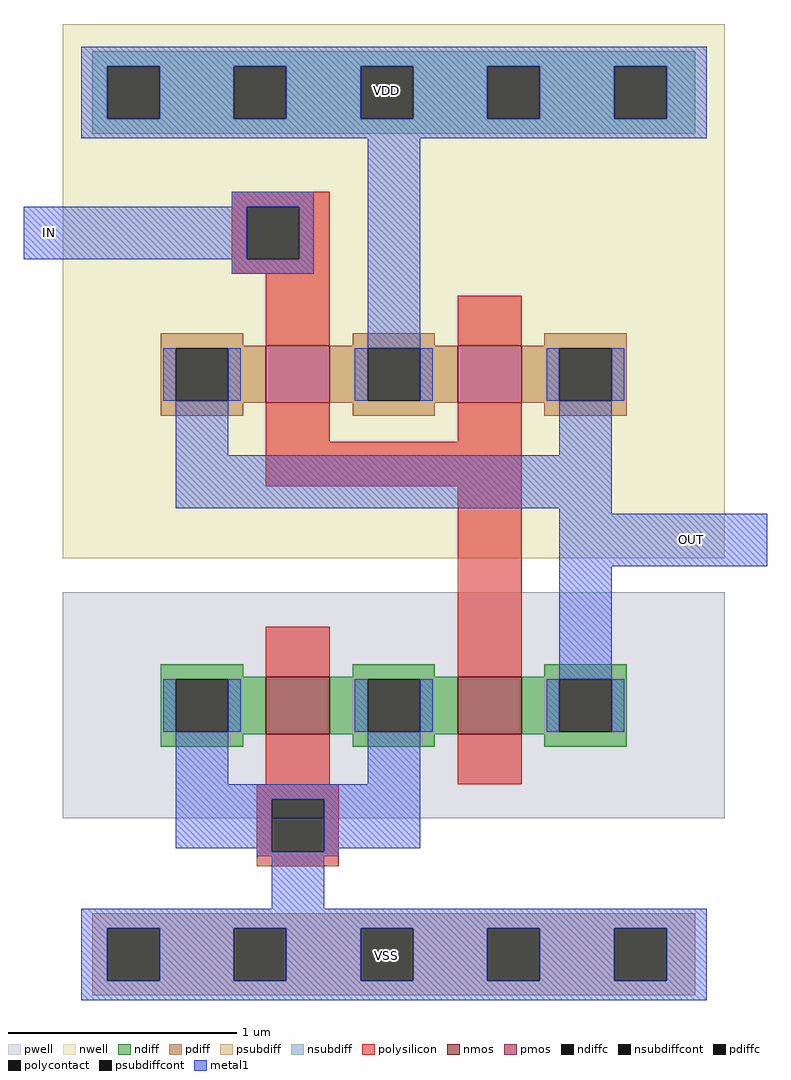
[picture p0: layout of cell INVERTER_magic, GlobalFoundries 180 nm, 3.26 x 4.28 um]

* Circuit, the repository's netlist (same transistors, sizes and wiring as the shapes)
* NGSPICE file created from INVERTER_magic.ext - technology: gf180mcuC

.subckt pmos_3p3_MGRCNG a_n204_n36# a_56_n69# a_112_n25# a_n112_n69# w_n290_n161#
+ a_n56_n25#
X0 a_n56_n25# a_n112_n69# a_n204_n36# w_n290_n161# pfet_03v3 ad=89.8f pd=0.92u as=0.155p ps=1.64u w=0.25u l=0.28u
X1 a_112_n25# a_56_n69# a_n56_n25# w_n290_n161# pfet_03v3 ad=0.155p pd=1.64u as=89.8f ps=0.92u w=0.25u l=0.28u
.ends

.subckt nmos_3p3_H9QVWA a_n120_n36# a_28_n25# a_n28_n69# VSUBS
X0 a_28_n25# a_n28_n69# a_n120_n36# VSUBS nfet_03v3 ad=0.155p pd=1.64u as=0.155p ps=1.64u w=0.25u l=0.28u
.ends

.subckt INVERTER_magic IN OUT VDD VSS
Xpmos_3p3_MGRCNG_0 OUT IN OUT IN VDD VDD pmos_3p3_MGRCNG
Xnmos_3p3_H9QVWA_0 VSS OUT IN VSS nmos_3p3_H9QVWA
Xnmos_3p3_H9QVWA_1 VSS VSS VSS VSS nmos_3p3_H9QVWA
.ends

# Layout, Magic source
magic
tech gf180mcuC
magscale 1 10
<< nwell >>
rect 0 322 580 468
<< pwell >>
rect 0 -228 62 -30
rect 518 -228 580 -30
<< psubdiff >>
rect 26 -324 554 -311
rect 26 -370 39 -324
rect 85 -370 150 -324
rect 196 -370 261 -324
rect 307 -370 372 -324
rect 418 -370 483 -324
rect 529 -370 554 -324
rect 26 -383 554 -370
<< nsubdiff >>
rect 26 431 554 444
rect 26 385 39 431
rect 85 385 150 431
rect 196 385 261 431
rect 307 385 372 431
rect 418 385 483 431
rect 529 385 554 431
rect 26 372 554 385
<< psubdiffcont >>
rect 39 -370 85 -324
rect 150 -370 196 -324
rect 261 -370 307 -324
rect 372 -370 418 -324
rect 483 -370 529 -324
<< nsubdiffcont >>
rect 39 385 85 431
rect 150 385 196 431
rect 261 385 307 431
rect 372 385 418 431
rect 483 385 529 431
<< polysilicon >>
rect 148 308 234 321
rect 148 262 161 308
rect 207 262 234 308
rect 148 249 234 262
rect 178 230 234 249
rect 178 63 402 102
rect 346 -60 402 63
rect 170 -211 242 -198
rect 170 -257 183 -211
rect 229 -257 242 -211
rect 170 -270 242 -257
<< polycontact >>
rect 161 262 207 308
rect 183 -257 229 -211
<< metal1 >>
rect 16 431 564 448
rect 16 385 39 431
rect 85 385 150 431
rect 196 385 261 431
rect 307 385 372 431
rect 418 385 483 431
rect 529 385 564 431
rect 16 368 564 385
rect 148 308 220 321
rect -34 262 161 308
rect 207 262 220 308
rect 148 249 220 262
rect 267 184 313 368
rect 99 90 145 138
rect 435 90 481 138
rect 99 44 481 90
rect 435 39 481 44
rect 435 -7 617 39
rect 435 -106 481 -7
rect 99 -198 145 -152
rect 267 -198 313 -152
rect 99 -211 313 -198
rect 99 -254 183 -211
rect 170 -257 183 -254
rect 229 -254 313 -211
rect 229 -257 242 -254
rect 170 -261 242 -257
rect 183 -307 229 -261
rect 16 -324 564 -307
rect 16 -370 39 -324
rect 85 -370 150 -324
rect 196 -370 261 -324
rect 307 -370 372 -324
rect 418 -370 483 -324
rect 529 -370 564 -324
rect 16 -387 564 -370
use nmos_3p3_H9QVWA  nmos_3p3_H9QVWA_0
transform 1 0 374 0 1 -129
box -144 -99 144 99
use nmos_3p3_H9QVWA  nmos_3p3_H9QVWA_1
transform 1 0 206 0 1 -129
box -144 -99 144 99
use pmos_3p3_MGRCNG  pmos_3p3_MGRCNG_0
transform 1 0 290 0 1 161
box -290 -161 290 161
<< labels >>
flabel metal1 -12 285 -12 285 0 FreeSans 480 0 0 0 IN
port 0 nsew
flabel metal1 551 16 551 16 0 FreeSans 480 0 0 0 OUT
port 1 nsew
flabel nsubdiffcont 284 410 284 410 0 FreeSans 480 0 0 0 VDD
port 2 nsew
flabel psubdiffcont 284 -348 284 -348 0 FreeSans 480 0 0 0 VSS
port 3 nsew
<< end >>

# cell nmos_3p3_H9QVWA: kit device nmos_3p3, w 0.250 l 0.280 m 1 nf 1 diffcov 100 polycov 100 guard 0 glc 0 grc 0 gtc 0 gbc 0 tbcov 100 rlcov 100 topc 0 botc 0 poverlap 0 doverlap 1 lmin 0.28 wmin 0.22 full_metal 0 compatible {nmos_3p3 nmos_6p0 nmos_6p0_nat}

# cell pmos_3p3_MGRCNG: kit device pmos_3p3, w 0.250 l 0.280 m 1 nf 2 diffcov 100 polycov 100 guard 0 glc 0 grc 0 gtc 0 gbc 0 tbcov 100 rlcov 100 topc 0 botc 0 poverlap 0 doverlap 1 lmin 0.28 wmin 0.22 full_metal 0 compatible {pmos_3p3 pmos_6p0}
